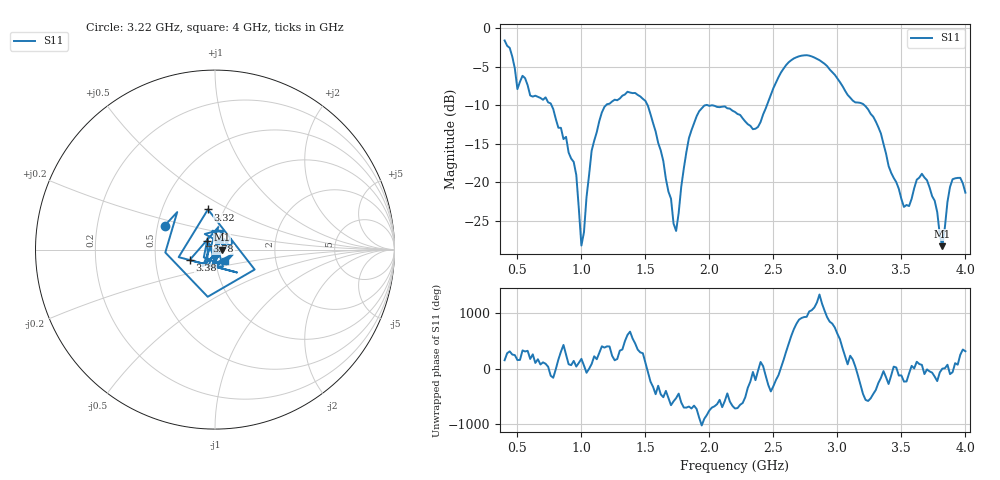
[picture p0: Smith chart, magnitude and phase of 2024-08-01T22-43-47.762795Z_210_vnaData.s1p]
!Created with skrf (http://scikit-rf.org).
# Hz S RI R 50.0
!freq ReS11 ImS11
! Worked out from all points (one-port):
!   181 points, 400 MHz to 4 GHz, reference 50 ohm
!   lowest |S11| = -28.3 dB at 3.82 GHz (marker M1), VSWR 1.08, Z = 54 - j0.0872 ohm
!   |S11| at or under -10 dB: 1.517 GHz to 1.974 GHz (456.9 MHz wide, 26.2 % of centre); 1.984 GHz to 2.45 GHz (465.4 MHz wide, 21 % of centre); 3.21 GHz to end of sweep (the widest 3 of 4)
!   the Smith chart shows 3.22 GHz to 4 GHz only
!   S11 on the Smith chart (normalised r, x): 3.22 GHz: 0.54, +0.16; 3.32 GHz: 0.84, +0.40; 3.38 GHz: 0.75, -0.09; 3.78 GHz: 0.91, +0.08; 4 GHz: 1.11, -0.14
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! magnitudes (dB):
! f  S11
! 400 MHz  -1.6
! 500 MHz  -7.9
! 720 MHz  -9.0
! 860 MHz  -14.4
! 960 MHz  -19.1
! 1 GHz  -28.2
! 1.08 GHz  -15.9
! 1.14 GHz  -12.1
! 1.3 GHz  -9.1
! 1.5 GHz  -9.5
! 1.64 GHz  -17.3
! 1.72 GHz  -25.4
! 1.76 GHz  -24.0
! 1.84 GHz  -14.3
! 1.92 GHz  -10.8
! 2.2 GHz  -10.9
! 2.38 GHz  -12.8
! 2.66 GHz  -3.9
! 3.1 GHz  -9.0
! 3.22 GHz  -10.2
! 3.32 GHz  -12.9
! 3.38 GHz  -16.3
! 3.56 GHz  -23.1
! 3.66 GHz  -18.9
! 3.78 GHz  -23.9
! 3.82 GHz  -28.3
! 3.9 GHz  -19.6
! 4 GHz  -21.4
